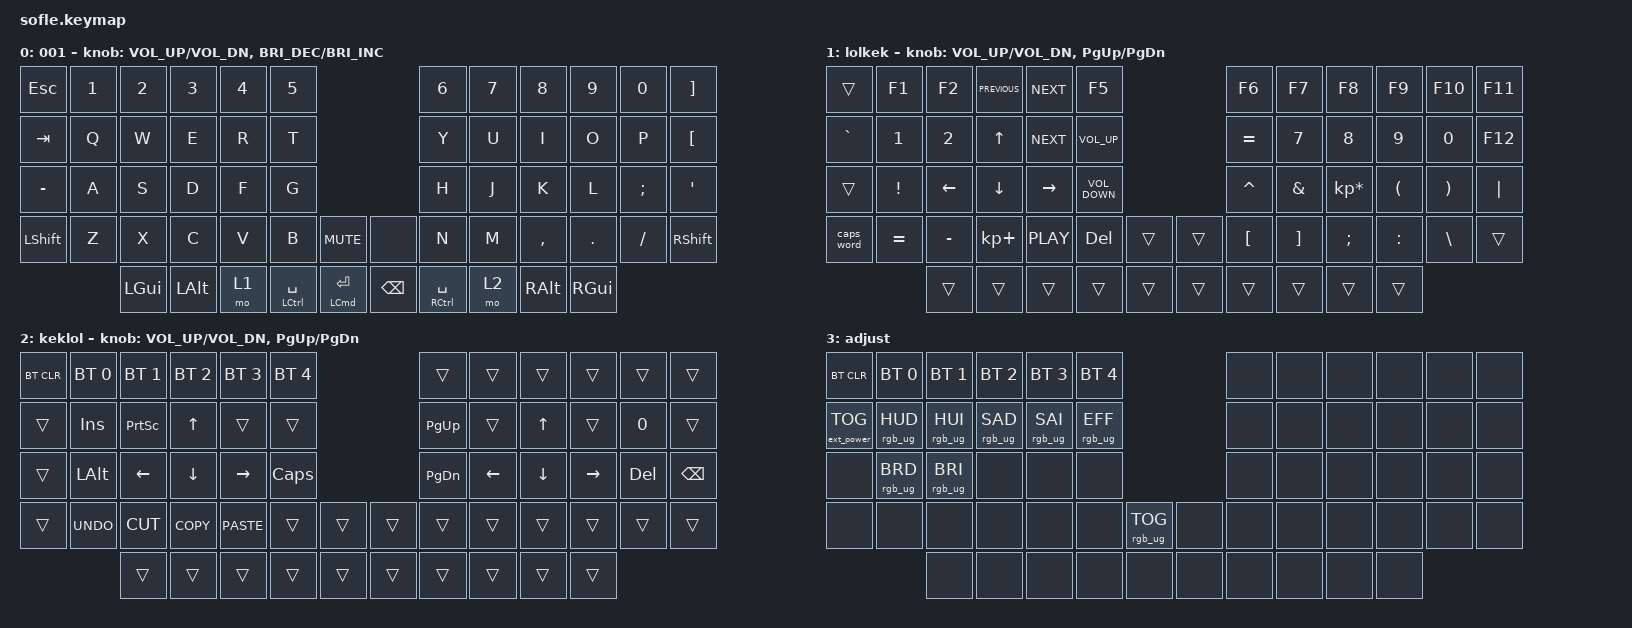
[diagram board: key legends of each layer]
/*
 * Copyright (c) 2020 The ZMK Contributors
 *
 * SPDX-License-Identifier: MIT
 */

#include <behaviors.dtsi>
#include <dt-bindings/zmk/bt.h>
#include <dt-bindings/zmk/ext_power.h>
#include <dt-bindings/zmk/keys.h>
#include <dt-bindings/zmk/rgb.h>

#define BASE 0
#define LOWER 1
#define RAISE 2
#define ADJUST 3

/ {
    // Activate ADJUST layer by pressing raise and lower

    conditional_layers {
        compatible = "zmk,conditional-layers";

        adjust_layer {
            if-layers = <LOWER RAISE>;
            then-layer = <ADJUST>;
        };
    };

    keymap {
        compatible = "zmk,keymap";

        default_layer {
            display-name = "001";

            // ------------------------------------------------------------------------------------------------------------
            // |   `   |  1  |  2  |  3   |  4   |  5   |                   |  6   |  7    |  8    |  9   |   0   |  F5   |
            // |  ESC  |  Q  |  W  |  E   |  R   |  T   |                   |  Y   |  U    |  I    |  O   |   P   | BKSPC |
            // |  TAB  |  A  |  S  |  D   |  F   |  G   |                   |  H   |  J    |  K    |  L   |   ;   |   '   |
            // | SHIFT |  Z  |  X  |  C   |  V   |  B   |  MUTE  |  |       |  N   |  M    |  ,    |  .   |   /   | SHIFT |
            //               | GUI | ALT  | CTRL | LOWER|  ENTER |  | SPACE | RAISE| CTRL  | ALT   | GUI  |

            bindings = <
&kp ESCAPE      &kp N1  &kp N2    &kp N3        &kp N4  &kp N5                                            &kp N6           &kp N7  &kp N8     &kp N9    &kp N0    &kp RIGHT_BRACKET
&kp TAB         &kp Q   &kp W     &kp E         &kp R   &kp T                                             &kp Y            &kp U   &kp I      &kp O     &kp P     &kp LEFT_BRACKET
&kp MINUS       &kp A   &kp S     &kp D         &kp F   &kp G                                             &kp H            &kp J   &kp K      &kp L     &kp SEMI  &kp SQT
&kp LEFT_SHIFT  &kp Z   &kp X     &kp C         &kp V   &kp B            &kp C_MUTE        &none          &kp N            &kp M   &kp COMMA  &kp DOT   &kp FSLH  &kp RSHFT
                        &kp LGUI  &kp LEFT_ALT  &mo 1   &mt LCTRL SPACE  &mt LCMD ENTER    &kp BACKSPACE  &mt RCTRL SPACE  &mo 2   &kp RALT   &kp RGUI
            >;

            sensor-bindings =
                <&inc_dec_kp C_VOL_UP C_VOL_DN>,
                <&inc_dec_kp C_BRIGHTNESS_DEC C_BRIGHTNESS_INC>;
        };

        lower_layer {
            display-name = "lolkek";

            // TODO: Some binds are waiting for shifted keycode support.
            // ------------------------------------------------------------------------------------------------------------
            // |       |  F1 |  F2 |  F3  |  F4  |  F5  |                   |  F6  |  F7   |  F8   |  F9  |  F10  |  F11  |
            // |   `   |  1  |  2  |  3   |  4   |  5   |                   |  6   |  7    |  8    |  9   |   0   |  F12  |
            // |       |  !  |  @  |  #   |  $   |  %   |                   |  ^   |  &    |  *    |  (   |   )   |   |   |
            // |       |  =  |  -  |  +   |  {   |  }   |        |  |       |  [   |  ]    |  ;    |  :   |   \   |       |
            //               |     |      |      |      |        |  |       |      |       |       |      |

            bindings = <
&trans      &kp F1     &kp F2          &kp C_PREVIOUS  &kp C_NEXT  &kp F5                               &kp F6     &kp F7    &kp F8           &kp F9     &kp F10   &kp F11
&kp GRAVE   &kp N1     &kp N2          &kp UP_ARROW    &kp C_NEXT  &kp K_VOLUME_UP                      &kp EQUAL  &kp N7    &kp N8           &kp N9     &kp N0    &kp F12
&trans      &kp EXCL   &kp LEFT_ARROW  &kp DOWN        &kp RIGHT   &kp K_VOLUME_DOWN                    &kp CARET  &kp AMPS  &kp KP_MULTIPLY  &kp LPAR   &kp RPAR  &kp PIPE
&caps_word  &kp EQUAL  &kp MINUS       &kp KP_PLUS     &kp C_PLAY  &kp DEL            &trans    &trans  &kp LBKT   &kp RBKT  &kp SEMI         &kp COLON  &kp BSLH  &trans
                       &trans          &trans          &trans      &trans             &trans    &trans  &trans     &trans    &trans           &trans
            >;

            sensor-bindings = <&inc_dec_kp C_VOL_UP C_VOL_DN &inc_dec_kp PG_UP PG_DN>;
        };

        raise_layer {
            display-name = "keklol";

            // ------------------------------------------------------------------------------------------------------------
            // | BTCLR | BT1  | BT2  |  BT3  |  BT4  |  BT5 |                |      |      |       |      |       |       |
            // |       | INS  | PSCR | GUI   |       |      |                | PGUP |      |   ^   |      |       |       |
            // |       | ALT  | CTRL | SHIFT |       | CAPS |                | PGDN |   <- |   v   |  ->  |  DEL  | BKSPC |
            // |       | UNDO | CUT  | COPY  | PASTE |      |      |  |      |      |      |       |      |       |       |
            //                |      |       |       |      |      |  |      |      |      |       |      |

            bindings = <
&bt BT_CLR  &bt BT_SEL 0  &bt BT_SEL 1  &bt BT_SEL 2    &bt BT_SEL 3  &bt BT_SEL 4                    &trans     &trans    &trans    &trans     &trans   &trans
&trans      &kp INS       &kp PSCRN     &kp UP_ARROW    &trans        &trans                          &kp PG_UP  &trans    &kp UP    &trans     &kp N0   &trans
&trans      &kp LALT      &kp LEFT      &kp DOWN_ARROW  &kp RIGHT     &kp CLCK                        &kp PG_DN  &kp LEFT  &kp DOWN  &kp RIGHT  &kp DEL  &kp BSPC
&trans      &kp K_UNDO    &kp K_CUT     &kp K_COPY      &kp K_PASTE   &trans        &trans    &trans  &trans     &trans    &trans    &trans     &trans   &trans
                          &trans        &trans          &trans        &trans        &trans    &trans  &trans     &trans    &trans    &trans
            >;

            sensor-bindings = <&inc_dec_kp C_VOL_UP C_VOL_DN &inc_dec_kp PG_UP PG_DN>;
        };

        adjust_layer {
            // ----------------------------------------------------------------------------------------------------------------------------
            // | BTCLR  |  BT1    |  BT2    |   BT3   |   BT4   |   BT5   |                  |      |      |       |      |       |       |
            // | EXTPWR | RGB_HUD | RGB_HUI | RGB_SAD | RGB_SAI | RGB_EFF |                  |      |      |       |      |       |       |
            // |        | RGB_BRD | RGB_BRI |         |         |         |                  |      |      |       |      |       |       |
            // |        |         |         |         |         |         | RGB_TOG | |      |      |      |       |      |       |       |
            //                    |         |         |         |         |         | |      |      |      |       |      |

            display-name = "adjust";
            bindings = <
&bt BT_CLR         &bt BT_SEL 0     &bt BT_SEL 1     &bt BT_SEL 2     &bt BT_SEL 3     &bt BT_SEL 4                               &none  &none  &none  &none  &none  &none
&ext_power EP_TOG  &rgb_ug RGB_HUD  &rgb_ug RGB_HUI  &rgb_ug RGB_SAD  &rgb_ug RGB_SAI  &rgb_ug RGB_EFF                            &none  &none  &none  &none  &none  &none
&none              &rgb_ug RGB_BRD  &rgb_ug RGB_BRI  &none            &none            &none                                      &none  &none  &none  &none  &none  &none
&none              &none            &none            &none            &none            &none            &rgb_ug RGB_TOG    &none  &none  &none  &none  &none  &none  &none
                                    &none            &none            &none            &none            &none              &none  &none  &none  &none  &none
            >;
        };
    };
};
